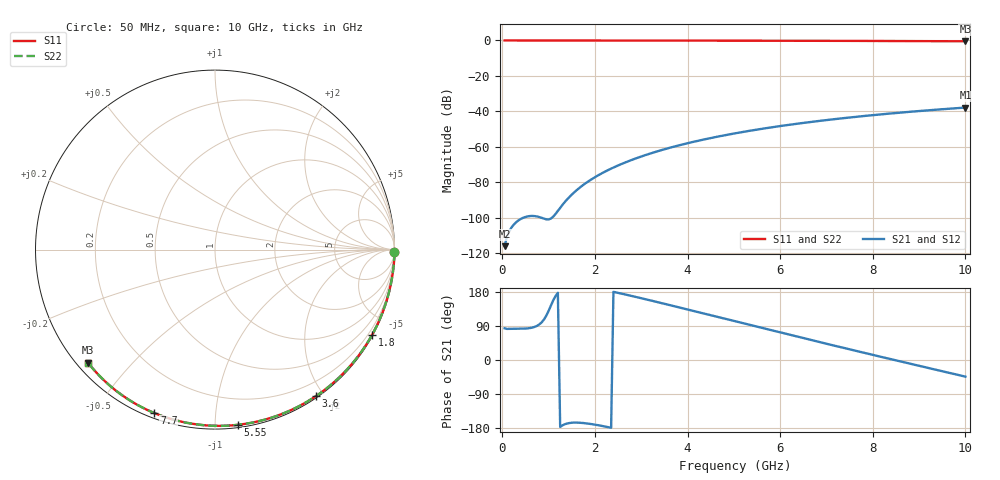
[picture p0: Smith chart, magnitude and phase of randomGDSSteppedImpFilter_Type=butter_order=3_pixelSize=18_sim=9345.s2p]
! freq	dB(S11)	phase(S11)	dB(S12)	phase(S12)
!  dB(S21)	phase(S21)	dB(S22)	phase(S22)
!S-par simulation data
#  GHz  S  DB  R 50
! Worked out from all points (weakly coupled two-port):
!   200 points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, 50 MHz to 10 GHz, reference 50 ohm
!   highest |S21| = -37.86 dB at 10 GHz (marker M1); lowest = -116.1 dB at 50 MHz (marker M2)
!   lowest |S11| = -0.5 dB at 10 GHz (marker M3), VSWR 37.06, Z = 1.54 - j19 ohm
!   |S11| at or under -10 dB: nowhere
!   |S22| runs from -0.5 to 0.0 dB; largest |S21 - S12| = 0
!   S11 on the Smith chart (normalised r, x): 50 MHz: open; 1.8 GHz: 0.03, -3.96; 3.6 GHz: 0.02, -1.90; 5.55 GHz: 0.02, -1.14; 7.7 GHz: 0.02, -0.70; 10 GHz: 0.03, -0.38
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0.05  -0.00 -0.8  -116.05 83.7  -116.05 83.7  -0.00 -0.8
0.45  -0.01 -7.2  -100.05 82.7  -100.05 82.7  -0.01 -7.2
0.9  -0.02 -14.3  -100.54 106.9  -100.54 106.9  -0.02 -14.3
1.75  -0.04 -27.6  -81.46 -166.3  -81.46 -166.3  -0.04 -27.6
1.8  -0.04 -28.4  -80.52 -167.0  -80.52 -167.0  -0.04 -28.4
1.85  -0.04 -29.1  -79.63 -167.8  -79.63 -167.8  -0.04 -29.1
2.05  -0.04 -32.2  -76.38 -171.7  -76.38 -171.7  -0.04 -32.2
2.25  -0.05 -35.3  -73.57 -176.3  -73.57 -176.3  -0.05 -35.3
2.55  -0.05 -39.8  -69.95 175.8  -69.95 175.8  -0.05 -39.8
2.95  -0.06 -45.8  -65.92 164.6  -65.92 164.6  -0.06 -45.8
3.4  -0.07 -52.5  -62.14 151.3  -62.14 151.3  -0.07 -52.5
3.6  -0.07 -55.4  -60.66 145.4  -60.66 145.4  -0.07 -55.4
3.9  -0.08 -59.8  -58.61 136.3  -58.61 136.3  -0.08 -59.8
4.3  -0.09 -65.5  -56.17 124.2  -56.17 124.2  -0.09 -65.5
5.05  -0.12 -75.9  -52.28 101.4  -52.28 101.4  -0.12 -75.9
5.55  -0.14 -82.7  -50.07 86.3  -50.07 86.3  -0.14 -82.7
6.1  -0.16 -90.0  -47.92 69.7  -47.92 69.7  -0.16 -90.0
6.7  -0.19 -97.8  -45.85 51.8  -45.85 51.8  -0.19 -97.8
7.7  -0.25 -110.4  -42.91 22.3  -42.91 22.3  -0.25 -110.4
8.35  -0.30 -118.4  -41.28 3.4  -41.28 3.4  -0.30 -118.4
9.2  -0.38 -128.7  -39.40 -21.1  -39.40 -21.1  -0.38 -128.7
10  -0.47 -138.3  -37.86 -43.9  -37.86 -43.9  -0.47 -138.3
